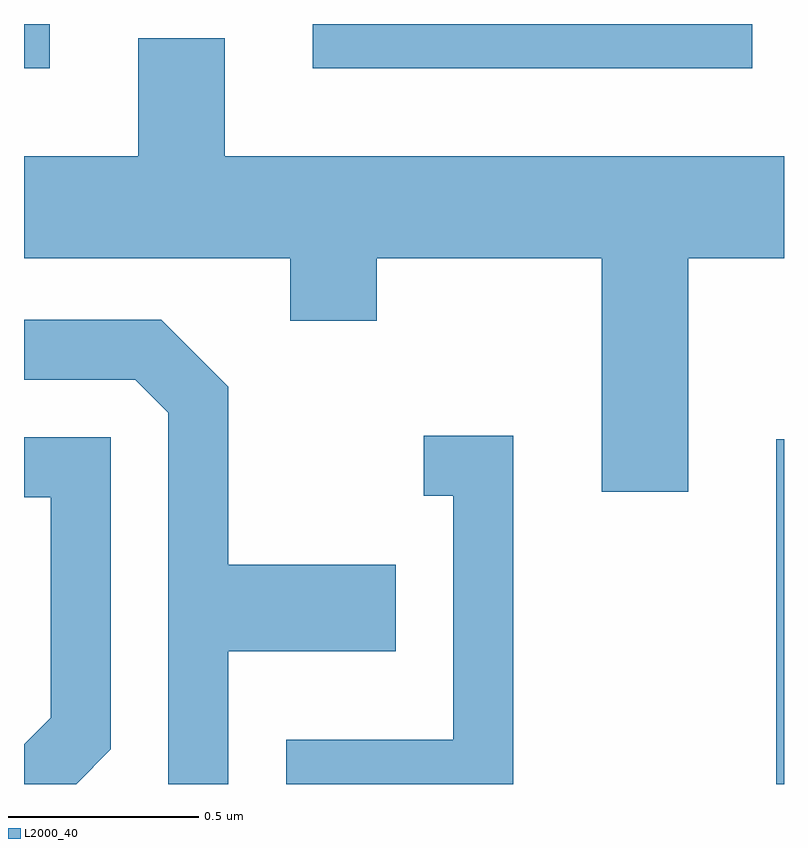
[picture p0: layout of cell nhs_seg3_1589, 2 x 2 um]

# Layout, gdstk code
import gdstk
lib = gdstk.Library(unit=1e-6, precision=1e-09)
def R(c, l, rs):  # rectangles x0, y0, x1, y1
    for r in rs: c.add(gdstk.rectangle(r[:2], r[2:], *l))
def P(c, l, *ps):  # polygons
    for p in ps: c.add(gdstk.Polygon(p, *l))
L2000_40 = (2000, 40)

nhs_seg3_1589 = lib.new_cell('nhs_seg3_1589')
R(nhs_seg3_1589, L2000_40, [(198.591,1197.892,198.611,1198.799), (196.611,1199.776,196.679,1199.892), (197.371,1199.776,198.528,1199.892)])
P(nhs_seg3_1589, L2000_40, [(198.359,1199.276),(198.611,1199.276),(198.611,1199.544),(197.139,1199.544),(197.139,1199.854),(196.911,1199.854),(196.911,1199.544),(196.611,1199.544),(196.611,1199.276),(197.311,1199.276),(197.311,1199.111),(197.539,1199.111),(197.539,1199.276),(198.131,1199.276),(198.131,1198.661),(198.359,1198.661)],
  [(197.149,1198.241),(197.589,1198.241),(197.589,1198.469),(197.149,1198.469),(197.149,1198.937),(196.972,1199.114),(196.611,1199.114),(196.611,1198.956),(196.904,1198.956),(196.991,1198.869),(196.991,1197.892),(197.149,1197.892)],
  [(197.899,1198.809),(197.663,1198.809),(197.663,1198.651),(197.741,1198.651),(197.741,1198.009),(197.301,1198.009),(197.301,1197.892),(197.899,1197.892)],
  [(196.839,1197.984),(196.839,1198.804),(196.611,1198.804),(196.611,1198.646),(196.681,1198.646),(196.681,1198.067),(196.611,1197.996),(196.611,1197.892),(196.748,1197.892)])

lib.write_gds('nhs_seg3_1589.gds')
